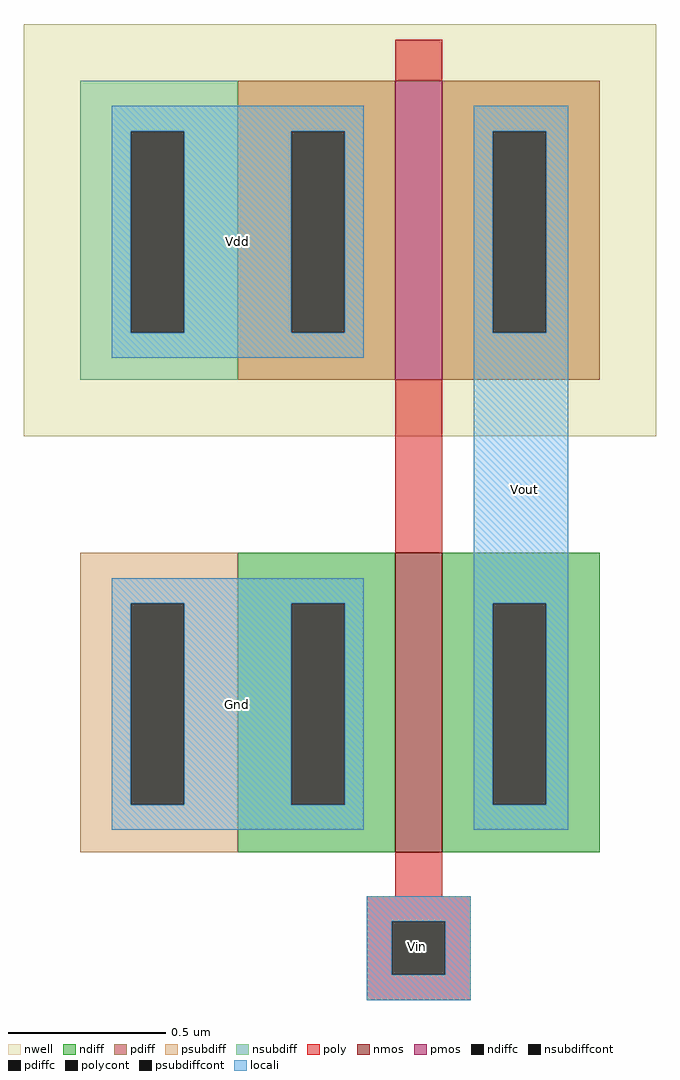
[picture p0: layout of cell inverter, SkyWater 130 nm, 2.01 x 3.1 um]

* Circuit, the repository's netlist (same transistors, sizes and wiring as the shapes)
* 0.01um = 10nm for proper scaling
.option scale=0.01u

* import sky130 models
.lib /usr/local/share/pdk/sky130A/libs.tech/ngspice/sky130.lib.spice tt

* power supply
Vdd Vdd 0 3.3

* input pulse
Vin Vin 0 pulse(0 3.3 100p 50p 50p 500p 1200p)

* transistors from ext2spice
* connect gnd to node 0 (ground)
X0 Vout Vin 0 0 sky130_fd_pr__nfet_01v8 ad=4.75n pd=0.29m as=4.75n ps=0.29m w=95 l=15
X1 Vout Vin Vdd Vdd sky130_fd_pr__pfet_01v8 ad=4.75n pd=0.29m as=4.75n ps=0.29m w=95 l=15

* transient analysis
.control
tran 1p 1200p
plot v(Vin) v(Vout)
.endc

.end

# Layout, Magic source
magic
tech sky130A
<< nwell >>
rect -118 132 83 263
<< nmos >>
rect 0 0 15 95
<< pmos >>
rect 0 150 15 245
<< ndiff >>
rect -50 79 0 95
rect -50 15 -33 79
rect -16 15 0 79
rect -50 0 0 15
rect 15 79 65 95
rect 15 15 31 79
rect 48 15 65 79
rect 15 0 65 15
<< pdiff >>
rect -50 229 0 245
rect -50 165 -33 229
rect -16 165 0 229
rect -50 150 0 165
rect 15 229 65 245
rect 15 165 31 229
rect 48 165 65 229
rect 15 150 65 165
<< ndiffc >>
rect -33 15 -16 79
rect 31 15 48 79
<< pdiffc >>
rect -33 165 -16 229
rect 31 165 48 229
<< psubdiff >>
rect -100 79 -50 95
rect -100 15 -84 79
rect -67 15 -50 79
rect -100 0 -50 15
<< nsubdiff >>
rect -100 229 -50 245
rect -100 165 -84 229
rect -67 165 -50 229
rect -100 150 -50 165
<< psubdiffcont >>
rect -84 15 -67 79
<< nsubdiffcont >>
rect -84 165 -67 229
<< poly >>
rect 0 245 15 258
rect 0 95 15 150
rect 0 -14 15 0
rect -9 -22 24 -14
rect -9 -39 -1 -22
rect 16 -39 24 -22
rect -9 -47 24 -39
<< polycont >>
rect -1 -39 16 -22
<< locali >>
rect -90 229 -10 237
rect -90 165 -84 229
rect -67 165 -33 229
rect -16 165 -10 229
rect -90 157 -10 165
rect 25 229 55 237
rect 25 165 31 229
rect 48 165 55 229
rect -90 79 -10 87
rect -90 15 -84 79
rect -67 15 -33 79
rect -16 15 -10 79
rect -90 7 -10 15
rect 25 79 55 165
rect 25 15 31 79
rect 48 15 55 79
rect 25 7 55 15
rect -9 -22 24 -14
rect -9 -39 -1 -22
rect 16 -39 24 -22
rect -9 -47 24 -39
<< labels >>
rlabel locali -50 194 -50 194 1 Vdd
rlabel locali -50 47 -50 47 1 Gnd
rlabel polycont 7 -30 7 -30 1 Vin
rlabel locali 41 115 41 115 1 Vout
<< end >>
